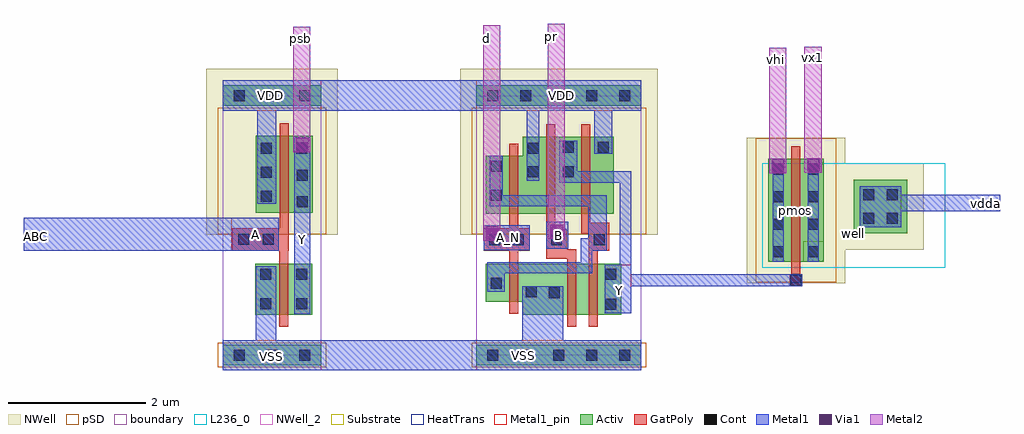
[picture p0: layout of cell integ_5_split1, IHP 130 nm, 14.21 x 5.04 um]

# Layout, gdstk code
import gdstk
lib = gdstk.Library(unit=1e-6, precision=1e-09)
def R(c, l, rs):  # rectangles x0, y0, x1, y1
    for r in rs: c.add(gdstk.rectangle(r[:2], r[2:], *l))
def A(c, l, x, y, w, h, nx, ny, dx, dy):  # array of equal rectangles
    R(c, l, [(x+i*dx, y+j*dy, x+i*dx+w, y+j*dy+h) for i in range(nx) for j in range(ny)])
def P(c, l, *ps):  # polygons
    for p in ps: c.add(gdstk.Polygon(p, *l))
Activ = (1, 0)
GatPoly = (5, 0)
Cont = (6, 0)
Metal1 = (8, 0)
Metal1_pin = (8, 2)
Metal2 = (10, 0)
pSD = (14, 0)
Via1 = (19, 0)
NWell = (31, 0)
NWell_2 = (31, 2)
Substrate = (40, 0)
HeatTrans = (51, 0)
boundary = (189, 4)
L236_0 = (236, 0)

integ_5_split1 = lib.new_cell('integ_5_split1')
R(integ_5_split1, Activ, [(-0.367,-0.619,1.073,-0.319), (3.331,-0.619,5.731,-0.319), (0.108,0.121,0.938,0.861), (7.577,0.889,7.877,1.189), (7.577,0.889,8.387,2.389), (8.087,0.889,8.387,1.189), (8.825,1.303,9.605,2.083), (0.118,1.606,0.948,2.726), (-0.367,3.161,1.073,3.461), (3.331,3.161,5.731,3.461)])
P(integ_5_split1, Activ, [(3.466,1.591),(3.466,2.431),(4.006,2.431),(4.006,2.711),(5.326,2.711),(5.326,1.591)],
  [(4.006,0.121),(4.006,0.311),(3.466,0.311),(3.466,0.861),(5.436,0.861),(5.436,0.121)])
R(integ_5_split1, GatPoly, [(7.917,0.709,8.047,2.569), (7.917,0.709,8.047,2.569)])
P(integ_5_split1, GatPoly, [(7.893,0.54),(7.893,0.702),(7.917,0.702),(7.917,2.569),(8.047,2.569),(8.047,0.702),(8.072,0.702),(8.072,0.54)],
  [(0.458,-0.059),(0.458,1.051),(-0.222,1.051),(-0.222,1.381),(0.468,1.381),(0.468,2.906),(0.598,2.906),(0.598,1.051),(0.588,1.051),(0.588,-0.059)],
  [(4.656,-0.059),(4.656,0.931),(4.346,0.931),(4.346,2.891),(4.476,2.891),(4.476,1.361),(4.646,1.361),(4.646,1.076),(4.786,1.076),(4.786,-0.059)],
  [(4.966,-0.059),(4.966,1.301),(4.856,1.301),(4.856,2.891),(4.986,2.891),(4.986,1.456),(5.266,1.456),(5.266,1.051),(5.096,1.051),(5.096,-0.059)],
  [(3.806,0.131),(3.806,1.051),(3.436,1.051),(3.436,1.381),(3.806,1.381),(3.806,2.611),(3.936,2.611),(3.936,1.381),(4.106,1.381),(4.106,1.051),(3.936,1.051),(3.936,0.131)])
A(integ_5_split1, Cont, 7.647, 0.959, 0.16, 0.16, 1, 4, 0, 0.4)
A(integ_5_split1, Cont, 8.157, 0.959, 0.16, 0.16, 1, 4, 0, 0.4)
A(integ_5_split1, Cont, 0.193, 1.766, 0.16, 0.16, 1, 3, 0, 0.35)
R(integ_5_split1, Cont, [(-0.207,-0.549,-0.047,-0.389), (-0.207,-0.549,-0.047,-0.389), (0.273,-0.549,0.433,-0.389), (0.273,-0.549,0.433,-0.389), (0.753,-0.549,0.913,-0.389), (0.753,-0.549,0.913,-0.389), (3.491,-0.549,3.651,-0.389), (3.491,-0.549,3.651,-0.389), (3.971,-0.549,4.131,-0.389), (3.971,-0.549,4.131,-0.389), (4.451,-0.549,4.611,-0.389), (4.451,-0.549,4.611,-0.389), (4.931,-0.549,5.091,-0.389), (4.931,-0.549,5.091,-0.389), (5.411,-0.549,5.571,-0.389), (5.411,-0.549,5.571,-0.389), (5.206,0.191,5.366,0.351), (0.183,0.201,0.343,0.361), (0.703,0.201,0.863,0.361), (4.386,0.361,4.546,0.521), (4.046,0.371,4.206,0.531), (3.536,0.501,3.696,0.661), (7.903,0.54,8.063,0.7), (0.183,0.626,0.343,0.786), (0.703,0.626,0.863,0.786), (5.206,0.631,5.366,0.791), (3.516,1.131,3.676,1.291), (3.856,1.131,4.016,1.291), (4.416,1.131,4.576,1.291), (5.036,1.131,5.196,1.291), (-0.137,1.136,0.023,1.296), (0.218,1.136,0.378,1.296), (8.965,1.443,9.125,1.603), (9.305,1.443,9.465,1.603), (0.713,1.686,0.873,1.846), (3.536,1.781,3.696,1.941), (8.965,1.783,9.125,1.943), (9.305,1.783,9.465,1.943), (0.713,2.071,0.873,2.231), (4.076,2.121,4.236,2.281), (4.586,2.121,4.746,2.281), (3.536,2.201,3.696,2.361), (0.708,2.461,0.868,2.621), (4.076,2.461,4.236,2.621), (4.586,2.481,4.746,2.641), (5.096,2.481,5.256,2.641), (-0.207,3.231,-0.047,3.391), (-0.207,3.231,-0.047,3.391), (0.273,3.231,0.433,3.391), (0.273,3.231,0.433,3.391), (0.753,3.231,0.913,3.391), (0.753,3.231,0.913,3.391), (3.491,3.231,3.651,3.391), (3.491,3.231,3.651,3.391), (3.971,3.231,4.131,3.391), (3.971,3.231,4.131,3.391), (4.451,3.231,4.611,3.391), (4.451,3.231,4.611,3.391), (4.931,3.231,5.091,3.391), (4.931,3.231,5.091,3.391), (5.411,3.231,5.571,3.391), (5.411,3.231,5.571,3.391)])
R(integ_5_split1, Metal1, [(0.678,0.126,0.908,2.706), (5.49,0.537,8.073,0.705), (7.647,0.889,7.807,2.389), (7.647,0.889,7.807,2.389), (7.647,0.889,7.807,2.389), (8.157,0.889,8.317,2.389), (8.157,0.889,8.317,2.389), (8.157,0.889,8.317,2.389), (-3.258,1.051,0.448,1.531), (3.436,1.061,4.106,1.421), (4.346,1.081,4.666,1.476)])
P(integ_5_split1, Metal1, [(-0.367,-0.689),(-0.367,-0.249),(0.118,-0.249),(0.118,0.826),(0.418,0.826),(0.418,-0.249),(3.361,-0.249),(3.361,-0.689)],
  [(0.138,1.736),(0.138,3.091),(-0.367,3.091),(-0.367,3.531),(3.359,3.531),(3.359,3.091),(0.413,3.091),(0.413,1.736)],
  [(8.915,1.393),(8.915,1.993),(9.515,1.993),(9.515,1.864),(10.954,1.864),(10.954,1.625),(9.515,1.625),(9.515,1.393)],
  [(3.331,-0.689),(3.331,-0.249),(3.996,-0.249),(3.996,0.536),(4.596,0.536),(4.596,-0.249),(5.731,-0.249),(5.731,-0.689)],
  [(5.196,0.141),(5.196,0.846),(5.416,0.846),(5.416,2.041),(4.536,2.041),(4.536,2.656),(4.796,2.656),(4.796,2.211),(5.586,2.211),(5.586,0.141)],
  [(3.486,0.451),(3.486,0.881),(4.846,0.881),(4.846,1.231),(4.956,1.231),(4.956,1.701),(3.521,1.701),(3.521,2.431),(3.711,2.431),(3.711,1.861),(5.226,1.861),(5.226,1.051),(5.016,1.051),(5.016,0.721),(3.746,0.721),(3.746,0.451)],
  [(4.061,2.071),(4.061,3.091),(3.331,3.091),(3.331,3.531),(5.731,3.531),(5.731,3.091),(5.306,3.091),(5.306,2.466),(5.046,2.466),(5.046,3.091),(4.246,3.091),(4.246,2.071)])
R(integ_5_split1, Metal1_pin, [(-0.367,-0.689,1.073,-0.249), (3.331,-0.689,5.731,-0.249), (0.678,0.126,0.908,2.706), (5.196,0.141,5.586,0.846), (-0.242,1.051,0.448,1.531), (3.436,1.061,4.106,1.421), (4.346,1.081,4.666,1.476), (8.915,1.393,9.515,1.993), (-0.367,3.091,1.073,3.531), (3.331,3.091,5.731,3.531)])
R(integ_5_split1, Metal2, [(3.428,1.199,3.676,4.333), (4.366,1.222,4.614,4.356), (7.593,2.178,7.841,4.007), (8.107,2.189,8.355,4.018), (0.662,2.485,0.91,4.314)])
R(integ_5_split1, pSD, [(-0.437,-0.649,1.143,-0.289), (3.261,-0.649,5.801,-0.289), (7.397,0.589,8.567,2.689), (-0.437,1.291,1.143,3.131), (3.261,1.291,5.801,3.131)])
R(integ_5_split1, Via1, [(3.465,1.218,3.655,1.408), (4.403,1.241,4.593,1.431), (7.63,2.197,7.82,2.387), (8.144,2.208,8.334,2.398), (0.699,2.504,0.889,2.694)])
R(integ_5_split1, NWell, [(7.267,0.579,8.697,2.699), (8.585,1.063,9.845,2.323), (-0.607,1.281,1.313,3.701), (3.091,1.281,5.971,3.701)])
R(integ_5_split1, NWell_2, [(8.825,1.303,9.605,2.083)])
R(integ_5_split1, Substrate, [(8.087,0.889,8.387,1.189), (8.087,0.889,8.387,1.189)])
R(integ_5_split1, HeatTrans, [(7.917,0.709,8.047,2.569)])
R(integ_5_split1, boundary, [(-0.367,-0.469,1.073,3.311), (3.331,-0.469,5.731,3.311)])
R(integ_5_split1, L236_0, [(7.491,0.803,10.159,2.323)])
integ_5_split1.add(gdstk.Label('ABC', (-3.087,1.259), layer=5, texttype=0))
integ_5_split1.add(gdstk.Label('Y', (0.803,1.221), layer=8, texttype=25))
integ_5_split1.add(gdstk.Label('A', (0.118,1.291), layer=8, texttype=25))
integ_5_split1.add(gdstk.Label('VSS', (0.353,-0.489), layer=8, texttype=25))
integ_5_split1.add(gdstk.Label('VDD', (0.338,3.311), layer=8, texttype=25))
integ_5_split1.add(gdstk.Label('VSS', (4.016,-0.469), layer=8, texttype=25))
integ_5_split1.add(gdstk.Label('Y', (5.411,0.476), layer=8, texttype=25))
integ_5_split1.add(gdstk.Label('A_N', (3.796,1.246), layer=8, texttype=25))
integ_5_split1.add(gdstk.Label('B', (4.521,1.266), layer=8, texttype=25))
integ_5_split1.add(gdstk.Label('VDD', (4.566,3.311), layer=8, texttype=25))
integ_5_split1.add(gdstk.Label('vdda', (10.744,1.733), layer=8, texttype=25))
integ_5_split1.add(gdstk.Label('ps', (-3.074,1.259), layer=8, texttype=25))
integ_5_split1.add(gdstk.Label('well', (8.825,1.303), layer=63, texttype=0))
integ_5_split1.add(gdstk.Label('pmos', (7.982,1.639), layer=63, texttype=0))
integ_5_split1.add(gdstk.Label('pmos', (7.982,1.639), layer=51, texttype=0))
integ_5_split1.add(gdstk.Label('[@instanceName]', (8.825,1.563), layer=236, texttype=1))
integ_5_split1.add(gdstk.Label('vhi', (7.692,3.841), layer=10, texttype=25))
integ_5_split1.add(gdstk.Label('vx1', (8.224,3.866), layer=10, texttype=25))
integ_5_split1.add(gdstk.Label('psb', (0.761,4.148), layer=10, texttype=25))
integ_5_split1.add(gdstk.Label('d', (3.48,4.145), layer=10, texttype=25))
integ_5_split1.add(gdstk.Label('pr', (4.418,4.168), layer=10, texttype=25))

lib.write_gds('integ_5_split1.gds')
